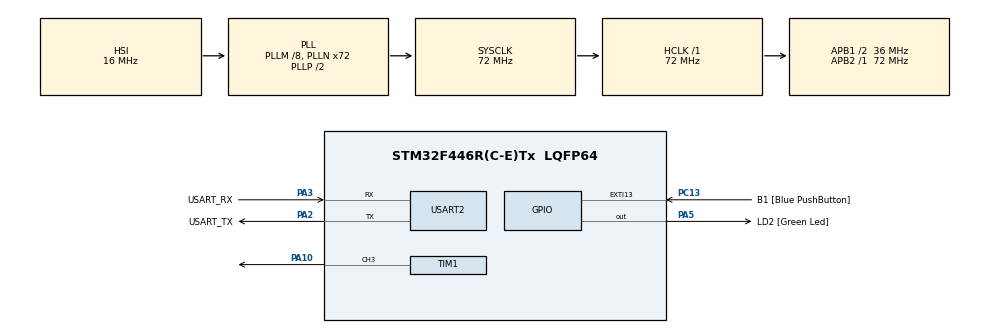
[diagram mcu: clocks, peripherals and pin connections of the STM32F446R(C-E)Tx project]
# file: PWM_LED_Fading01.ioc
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Mcu.Family=STM32F4
Mcu.Name=STM32F446R(C-E)Tx
Mcu.Package=LQFP64
NVIC.PriorityGroup=NVIC_PRIORITYGROUP_0
PA10.Signal=S_TIM1_CH3
PA13.GPIO_Label=TMS
PA13.Mode=Serial_Wire
PA13.Signal=SYS_JTMS-SWDIO
PA14.GPIO_Label=TCK
PA14.Mode=Serial_Wire
PA14.Signal=SYS_JTCK-SWCLK
PA2.GPIO_Label=USART_TX
PA2.Mode=Asynchronous
PA2.Signal=USART2_TX
PA3.GPIO_Label=USART_RX
PA3.Mode=Asynchronous
PA3.Signal=USART2_RX
PA5.GPIO_Label=LD2 [Green Led]
PA5.Signal=GPIO_Output
PB3.GPIO_Label=SWO
PB3.Signal=SYS_JTDO-SWO
PC13.GPIO_Label=B1 [Blue PushButton]
PC13.GPIO_ModeDefaultEXTI=GPIO_MODE_IT_FALLING
PC13.Signal=GPXTI13
PC14-OSC32_IN.Mode=LSE-External-Oscillator
PC14-OSC32_IN.Signal=RCC_OSC32_IN
PC15-OSC32_OUT.Mode=LSE-External-Oscillator
PC15-OSC32_OUT.Signal=RCC_OSC32_OUT
PH0-OSC_IN.Mode=HSE-External-Oscillator
PH0-OSC_IN.Signal=RCC_OSC_IN
PH1-OSC_OUT.Mode=HSE-External-Oscillator
PH1-OSC_OUT.Signal=RCC_OSC_OUT
ProjectManager.HeapSize=0x200
ProjectManager.StackSize=0x400
ProjectManager.TargetToolchain=STM32CubeIDE
RCC.48MHZClocksFreq_Value=84000000
RCC.AHBFreq_Value=72000000
RCC.APB1CLKDivider=RCC_HCLK_DIV2
RCC.APB1Freq_Value=36000000
RCC.APB1TimFreq_Value=72000000
RCC.APB2Freq_Value=72000000
RCC.APB2TimFreq_Value=72000000
RCC.CortexFreq_Value=72000000
RCC.FLatency-AdvancedSettings=FLASH_LATENCY_2
RCC.HCLKFreq_Value=72000000
RCC.HSE_VALUE=8000000
RCC.HSI_VALUE=16000000
RCC.PLLM=8
RCC.PLLN=72
RCC.SYSCLKFreq_VALUE=72000000
RCC.SYSCLKSource=RCC_SYSCLKSOURCE_PLLCLK
RCC.USBFreq_Value=72000000
RCC.VCOOutputFreq_Value=144000000
SH.S_TIM1_CH3.0=TIM1_CH3,PWM Generation3 CH3
TIM1.AutoReloadPreload=TIM_AUTORELOAD_PRELOAD_ENABLE
TIM1.Channel-PWM\ Generation3\ CH3=TIM_CHANNEL_3
USART2.VirtualMode=VM_ASYNC
board=NUCLEO-F446RE

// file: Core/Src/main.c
/* USER CODE BEGIN Header */
/**
  ******************************************************************************
  * @file           : main.c
  * @brief          : Main program body
  ******************************************************************************
  * @attention
  *
  * Copyright (c) 2023 STMicroelectronics.
  * All rights reserved.
  *
  * This software is licensed under terms that can be found in the LICENSE file
  * in the root directory of this software component.
  * If no LICENSE file comes with this software, it is provided AS-IS.
  *
  ******************************************************************************
  */
/* USER CODE END Header */
#include "main.h"

/* USER CODE BEGIN Includes */
#include <stdio.h>
#include <string.h>
/* USER CODE END Includes */

TIM_HandleTypeDef htim1;

UART_HandleTypeDef huart2;

void SystemClock_Config(void);
static void MX_GPIO_Init(void);
static void MX_USART2_UART_Init(void);
static void MX_TIM1_Init(void);

int main(void)
{

  /* MCU Configuration--------------------------------------------------------*/

  /* Reset of all peripherals, Initializes the Flash interface and the Systick. */
  HAL_Init();

  /* Configure the system clock */
  SystemClock_Config();

  /* Initialize all configured peripherals */
  MX_GPIO_Init();
  MX_USART2_UART_Init();
  MX_TIM1_Init();

  /* Infinite loop */
  /* USER CODE BEGIN WHILE */
  HAL_TIM_PWM_Start(&htim1, TIM_CHANNEL_3);
  uint32_t ch=0;
  uint16_t raw;
  char buf[10];

  while (1)
  {
	  while(ch<65535)
	  {
		  TIM1->CCR3=ch;
		  ch+=100;
		  HAL_Delay(1);
	  }
//	  HAL_Delay(1000); //TEST1 SO FAR VALUE 100
	  while(ch>1) //TEST3 SO FAR VALUE 100
	  {
		  TIM1->CCR3=ch;
		  ch-=100;
		  HAL_Delay(1);
	  }

//	raw=HAL_TIM_PWM_GetState(&htim1);
	  raw=HAL_TIM_ReadCapturedValue(&htim1, TIM_CHANNEL_3);
	sprintf(buf,"%hu\r\n",raw);

		  //TRANSMITTING DATA OVER UART
	HAL_UART_Transmit(&huart2, (uint8_t*)buf, strlen(buf), HAL_MAX_DELAY);
	HAL_Delay(1000); //TEST2 SO FAR VALYE 100

    /* USER CODE END WHILE */

  }
}

void SystemClock_Config(void)
{
  RCC_OscInitTypeDef RCC_OscInitStruct = {0};
  RCC_ClkInitTypeDef RCC_ClkInitStruct = {0};

  /** Configure the main internal regulator output voltage
  */
  __HAL_RCC_PWR_CLK_ENABLE();
  __HAL_PWR_VOLTAGESCALING_CONFIG(PWR_REGULATOR_VOLTAGE_SCALE3);

  /** Initializes the RCC Oscillators according to the specified parameters
  * in the RCC_OscInitTypeDef structure.
  */
  RCC_OscInitStruct.OscillatorType = RCC_OSCILLATORTYPE_HSI;
  RCC_OscInitStruct.HSIState = RCC_HSI_ON;
  RCC_OscInitStruct.HSICalibrationValue = RCC_HSICALIBRATION_DEFAULT;
  RCC_OscInitStruct.PLL.PLLState = RCC_PLL_ON;
  RCC_OscInitStruct.PLL.PLLSource = RCC_PLLSOURCE_HSI;
  RCC_OscInitStruct.PLL.PLLM = 8;
  RCC_OscInitStruct.PLL.PLLN = 72;
  RCC_OscInitStruct.PLL.PLLP = RCC_PLLP_DIV2;
  RCC_OscInitStruct.PLL.PLLQ = 2;
  RCC_OscInitStruct.PLL.PLLR = 2;
  if (HAL_RCC_OscConfig(&RCC_OscInitStruct) != HAL_OK)
  {
    Error_Handler();
  }

  /** Initializes the CPU, AHB and APB buses clocks
  */
  RCC_ClkInitStruct.ClockType = RCC_CLOCKTYPE_HCLK|RCC_CLOCKTYPE_SYSCLK
                              |RCC_CLOCKTYPE_PCLK1|RCC_CLOCKTYPE_PCLK2;
  RCC_ClkInitStruct.SYSCLKSource = RCC_SYSCLKSOURCE_PLLCLK;
  RCC_ClkInitStruct.AHBCLKDivider = RCC_SYSCLK_DIV1;
  RCC_ClkInitStruct.APB1CLKDivider = RCC_HCLK_DIV2;
  RCC_ClkInitStruct.APB2CLKDivider = RCC_HCLK_DIV1;

  if (HAL_RCC_ClockConfig(&RCC_ClkInitStruct, FLASH_LATENCY_2) != HAL_OK)
  {
    Error_Handler();
  }
}

static void MX_TIM1_Init(void)
{

  TIM_MasterConfigTypeDef sMasterConfig = {0};
  TIM_OC_InitTypeDef sConfigOC = {0};
  TIM_BreakDeadTimeConfigTypeDef sBreakDeadTimeConfig = {0};

  htim1.Instance = TIM1;
  htim1.Init.Prescaler = 0;
  htim1.Init.CounterMode = TIM_COUNTERMODE_UP;
  htim1.Init.Period = 65535;
  htim1.Init.ClockDivision = TIM_CLOCKDIVISION_DIV1;
  htim1.Init.RepetitionCounter = 0;
  htim1.Init.AutoReloadPreload = TIM_AUTORELOAD_PRELOAD_ENABLE;
  if (HAL_TIM_PWM_Init(&htim1) != HAL_OK)
  {
    Error_Handler();
  }
  sMasterConfig.MasterOutputTrigger = TIM_TRGO_RESET;
  sMasterConfig.MasterSlaveMode = TIM_MASTERSLAVEMODE_DISABLE;
  if (HAL_TIMEx_MasterConfigSynchronization(&htim1, &sMasterConfig) != HAL_OK)
  {
    Error_Handler();
  }
  sConfigOC.OCMode = TIM_OCMODE_PWM1;
  sConfigOC.Pulse = 0;
  sConfigOC.OCPolarity = TIM_OCPOLARITY_HIGH;
  sConfigOC.OCNPolarity = TIM_OCNPOLARITY_HIGH;
  sConfigOC.OCFastMode = TIM_OCFAST_DISABLE;
  sConfigOC.OCIdleState = TIM_OCIDLESTATE_RESET;
  sConfigOC.OCNIdleState = TIM_OCNIDLESTATE_RESET;
  if (HAL_TIM_PWM_ConfigChannel(&htim1, &sConfigOC, TIM_CHANNEL_3) != HAL_OK)
  {
    Error_Handler();
  }
  sBreakDeadTimeConfig.OffStateRunMode = TIM_OSSR_DISABLE;
  sBreakDeadTimeConfig.OffStateIDLEMode = TIM_OSSI_DISABLE;
  sBreakDeadTimeConfig.LockLevel = TIM_LOCKLEVEL_OFF;
  sBreakDeadTimeConfig.DeadTime = 0;
  sBreakDeadTimeConfig.BreakState = TIM_BREAK_DISABLE;
  sBreakDeadTimeConfig.BreakPolarity = TIM_BREAKPOLARITY_HIGH;
  sBreakDeadTimeConfig.AutomaticOutput = TIM_AUTOMATICOUTPUT_DISABLE;
  if (HAL_TIMEx_ConfigBreakDeadTime(&htim1, &sBreakDeadTimeConfig) != HAL_OK)
  {
    Error_Handler();
  }
  HAL_TIM_MspPostInit(&htim1);

}

static void MX_USART2_UART_Init(void)
{

  huart2.Instance = USART2;
  huart2.Init.BaudRate = 115200;
  huart2.Init.WordLength = UART_WORDLENGTH_8B;
  huart2.Init.StopBits = UART_STOPBITS_1;
  huart2.Init.Parity = UART_PARITY_NONE;
  huart2.Init.Mode = UART_MODE_TX_RX;
  huart2.Init.HwFlowCtl = UART_HWCONTROL_NONE;
  huart2.Init.OverSampling = UART_OVERSAMPLING_16;
  if (HAL_UART_Init(&huart2) != HAL_OK)
  {
    Error_Handler();
  }

}

static void MX_GPIO_Init(void)
{
  GPIO_InitTypeDef GPIO_InitStruct = {0};

  /* GPIO Ports Clock Enable */
  __HAL_RCC_GPIOC_CLK_ENABLE();
  __HAL_RCC_GPIOH_CLK_ENABLE();
  __HAL_RCC_GPIOA_CLK_ENABLE();
  __HAL_RCC_GPIOB_CLK_ENABLE();

  /*Configure GPIO pin Output Level */
  HAL_GPIO_WritePin(LD2_GPIO_Port, LD2_Pin, GPIO_PIN_RESET);

  /*Configure GPIO pin : B1_Pin */
  GPIO_InitStruct.Pin = B1_Pin;
  GPIO_InitStruct.Mode = GPIO_MODE_IT_FALLING;
  GPIO_InitStruct.Pull = GPIO_NOPULL;
  HAL_GPIO_Init(B1_GPIO_Port, &GPIO_InitStruct);

  /*Configure GPIO pin : LD2_Pin */
  GPIO_InitStruct.Pin = LD2_Pin;
  GPIO_InitStruct.Mode = GPIO_MODE_OUTPUT_PP;
  GPIO_InitStruct.Pull = GPIO_NOPULL;
  GPIO_InitStruct.Speed = GPIO_SPEED_FREQ_LOW;
  HAL_GPIO_Init(LD2_GPIO_Port, &GPIO_InitStruct);

}

void Error_Handler(void)
{
  __disable_irq();
  while (1)
  {
  }
}
